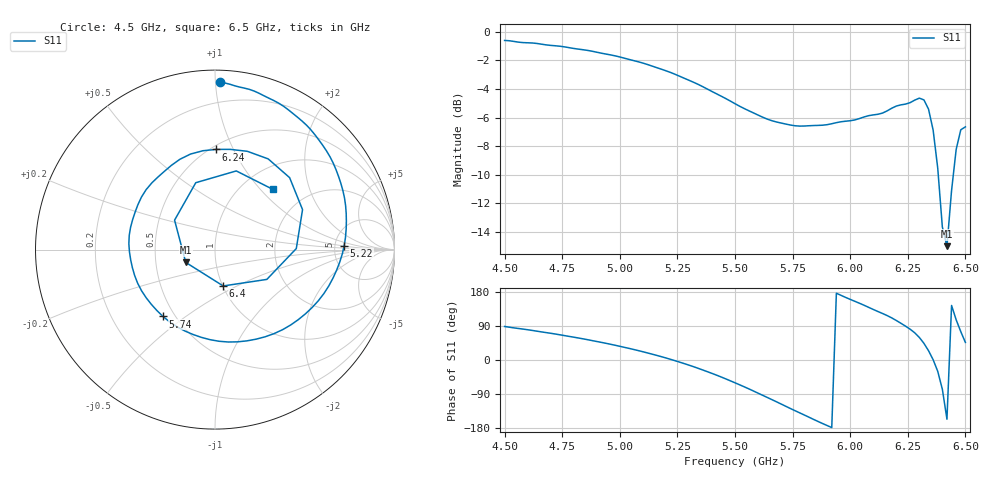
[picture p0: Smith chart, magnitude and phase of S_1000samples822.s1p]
! TOUCHSTONE file generated by CST MICROWAVE STUDIO
! Date and time: Sat Oct 29 12:26:49 2022
! Project name: L.cst
! Parameters = {Di=1.27; Epsilon_r=1.56; InnerDiameter=1.27; Length=2; Lf=10; Lg=60; OuterConductorThickness=0.2921; OuterDiameter=3.6; Wf=3; Wp=41.2; de=1.5; df=6.8; g=0.8; gx=4.78436; gy=2.67265; h=2.34; hf=1.524; px=13.8952; py=13.3577; w=9.7; wx=9.11088; wy=10.6851}
! Header version: 2018
! Port assignment regex: !\s*Touchstone port\s*([0-9]+)\s*=\s*(CST MWS port|CST DS port)\s*([0-9]+|Zmin|Zmax)\s*\(\"(.*)\"\)(\s*mode\s*([0-9]+))?.*
! Touchstone port assignment:
! Touchstone port 1 = CST MWS port 1 ("")
# GHz S DB R 50
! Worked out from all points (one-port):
!   101 points, 4.5 GHz to 6.5 GHz, reference 50 ohm
!   lowest |S11| = -15.0 dB at 6.42 GHz (marker M1), VSWR 1.43, Z = 35.7 - j5.26 ohm
!   |S11| at or under -10 dB: 6.382 GHz to 6.448 GHz (65.45 MHz wide, 1.02 % of centre)
!   S11 on the Smith chart (normalised r, x): 4.5 GHz: 0.07, +1.03; 5.22 GHz: 6.10, +0.57; 5.74 GHz: 0.43, -0.41; 6.24 GHz: 0.53, +0.86; 6.4 GHz: 1.01, -0.43; 6.5 GHz: 1.36, +1.17
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4.5  -0.61 88.4
4.76  -1.06 64.4
5  -1.77 36.2
5.12  -2.29 18.7
5.22  -2.85 1.8
5.26  -3.12 -5.7
5.38  -4.01 -30.8
5.5  -5.03 -60.2
5.62  -5.98 -93.2
5.74  -6.52 -127.9
5.76  -6.57 -133.6
5.88  -6.54 -167.6
6  -6.23 160.0
6.08  -5.87 139.0
6.16  -5.54 117.4
6.24  -5.06 89.4
6.26  -4.96 81.3
6.3  -4.65 59.6
6.32  -4.77 44.0
6.34  -5.41 24.5
6.36  -6.88 0.7
6.38  -9.55 -29.9
6.4  -13.65 -77.3
6.42  -14.99 -156.3
6.44  -11.10 143.9
6.46  -8.23 106.0
6.48  -6.86 74.9
6.5  -6.65 46.4
